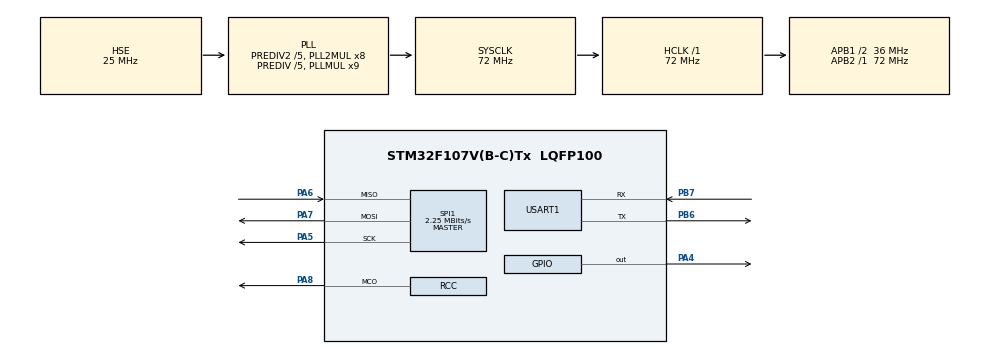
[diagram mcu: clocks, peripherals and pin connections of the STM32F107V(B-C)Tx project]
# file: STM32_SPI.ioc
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Mcu.Family=STM32F1
Mcu.Name=STM32F107V(B-C)Tx
Mcu.Package=LQFP100
NVIC.PriorityGroup=NVIC_PRIORITYGROUP_4
NVIC.SPI1_IRQn=true\:0\:0\:false\:false\:true\:true\:true\:true
NVIC.USART1_IRQn=true\:0\:0\:false\:false\:true\:true\:true\:true
OSC_IN.Mode=HSE-External-Oscillator
OSC_IN.Signal=RCC_OSC_IN
OSC_OUT.Mode=HSE-External-Oscillator
OSC_OUT.Signal=RCC_OSC_OUT
PA13.Mode=Serial_Wire
PA13.Signal=SYS_JTMS-SWDIO
PA14.Mode=Serial_Wire
PA14.Signal=SYS_JTCK-SWCLK
PA4.Signal=GPIO_Output
PA5.Mode=Full_Duplex_Master
PA5.Signal=SPI1_SCK
PA6.Mode=Full_Duplex_Master
PA6.Signal=SPI1_MISO
PA7.Mode=Full_Duplex_Master
PA7.Signal=SPI1_MOSI
PA8.GPIO_Speed=GPIO_SPEED_FREQ_MEDIUM
PA8.Mode=Clock-out
PA8.Signal=RCC_MCO
PB6.Mode=Asynchronous
PB6.Signal=USART1_TX
PB7.Mode=Asynchronous
PB7.Signal=USART1_RX
ProjectManager.HeapSize=0x200
ProjectManager.StackSize=0x400
ProjectManager.TargetToolchain=STM32CubeIDE
RCC.AHBFreq_Value=72000000
RCC.APB1CLKDivider=RCC_HCLK_DIV2
RCC.APB1Freq_Value=36000000
RCC.APB1TimFreq_Value=72000000
RCC.APB2Freq_Value=72000000
RCC.APB2TimFreq_Value=72000000
RCC.HCLKFreq_Value=72000000
RCC.HSEDivPLL=RCC_HSE_PREDIV_DIV5
RCC.HSE_VALUE=25000000
RCC.PLL3Mul=RCC_PLLI2S_MUL10
RCC.PLLMUL=RCC_PLL_MUL9
RCC.PLLSourceVirtual=RCC_PLLSOURCE_HSE
RCC.Prediv1Source=RCC_PREDIV1_SOURCE_PLL2
RCC.Prediv2=RCC_HSE_PREDIV2_DIV5
RCC.RCC_MCOSource=RCC_MCO1SOURCE_PLL3CLK
RCC.SYSCLKFreq_VALUE=72000000
RCC.SYSCLKSource=RCC_SYSCLKSOURCE_PLLCLK
RCC.USBFreq_Value=48000000
SPI1.BaudRatePrescaler=SPI_BAUDRATEPRESCALER_32
SPI1.CalculateBaudRate=2.25 MBits/s
SPI1.Direction=SPI_DIRECTION_2LINES
SPI1.Mode=SPI_MODE_MASTER
SPI1.VirtualType=VM_MASTER
USART1.VirtualMode=VM_ASYNC
board=custom

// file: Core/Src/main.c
/* USER CODE BEGIN Header */
/**
  ******************************************************************************
  * @file           : main.c
  * @brief          : Main program body
  ******************************************************************************
  * @attention
  *
  * Copyright (c) 2024 STMicroelectronics.
  * All rights reserved.
  *
  * This software is licensed under terms that can be found in the LICENSE file
  * in the root directory of this software component.
  * If no LICENSE file comes with this software, it is provided AS-IS.
  *
  ******************************************************************************
  */
/* USER CODE END Header */
#include "main.h"

/* USER CODE BEGIN Includes */
#include "W25Qxx.h"
#include "stdio.h"
#include "string.h"
/* USER CODE END Includes */

SPI_HandleTypeDef hspi1;

UART_HandleTypeDef huart1;

/* USER CODE BEGIN PV */
uint32_t ID=0;
uint8_t RxData[30];
uint8_t TxData[] = "Hello from Jaydip NextGen PoC\n";
/* USER CODE END PV */

void SystemClock_Config(void);
static void MX_GPIO_Init(void);
static void MX_SPI1_Init(void);
static void MX_USART1_UART_Init(void);

/* USER CODE BEGIN 0 */
int __io_putchar (int ch)
{
	HAL_UART_Transmit(&huart1, (const uint8_t*)&ch, 1, 10);
	return ch;
}

size_t custom_strlen(const uint8_t *str) {
    size_t length = 0;
    while (*str != '\0') {
        length++;
        str++;
    }
    return length;
}

/* USER CODE END 0 */

int main(void)
{

  /* MCU Configuration--------------------------------------------------------*/

  /* Reset of all peripherals, Initializes the Flash interface and the Systick. */
  HAL_Init();

  /* Configure the system clock */
  SystemClock_Config();

  /* Initialize all configured peripherals */
  MX_GPIO_Init();
  MX_SPI1_Init();
  MX_USART1_UART_Init();
  /* USER CODE BEGIN 2 */

  	W25Q_Reset();
    ID = W25Q_ReadID();

  	if (ID == 0xEF4015)
  	{
  		 W25Q_Read(0, 250, 20, RxData);
  		 W25Q_Erase_Sector(0);
  		 W25Q_Write_Page(0, 250, custom_strlen(TxData), TxData);
  		 W25Q_Read(0, 250, 20, RxData);
  		 W25Q_Erase_Sector(0);					// Comment this two line for check when power
  		 W25Q_Read(0, 250, 20, RxData);			// is off and on the data is still in Flash memory
  		 HAL_Delay(500);
  	}
  /* USER CODE END 2 */

  /* Infinite loop */
  while (1)
  {

  }
}

void SystemClock_Config(void)
{
  RCC_OscInitTypeDef RCC_OscInitStruct = {0};
  RCC_ClkInitTypeDef RCC_ClkInitStruct = {0};

  /** Initializes the RCC Oscillators according to the specified parameters
  * in the RCC_OscInitTypeDef structure.
  */
  RCC_OscInitStruct.OscillatorType = RCC_OSCILLATORTYPE_HSE;
  RCC_OscInitStruct.HSEState = RCC_HSE_ON;
  RCC_OscInitStruct.HSEPredivValue = RCC_HSE_PREDIV_DIV5;
  RCC_OscInitStruct.HSIState = RCC_HSI_ON;
  RCC_OscInitStruct.Prediv1Source = RCC_PREDIV1_SOURCE_PLL2;
  RCC_OscInitStruct.PLL.PLLState = RCC_PLL_ON;
  RCC_OscInitStruct.PLL.PLLSource = RCC_PLLSOURCE_HSE;
  RCC_OscInitStruct.PLL.PLLMUL = RCC_PLL_MUL9;
  RCC_OscInitStruct.PLL2.PLL2State = RCC_PLL2_ON;
  RCC_OscInitStruct.PLL2.PLL2MUL = RCC_PLL2_MUL8;
  RCC_OscInitStruct.PLL2.HSEPrediv2Value = RCC_HSE_PREDIV2_DIV5;
  if (HAL_RCC_OscConfig(&RCC_OscInitStruct) != HAL_OK)
  {
    Error_Handler();
  }

  /** Initializes the CPU, AHB and APB buses clocks
  */
  RCC_ClkInitStruct.ClockType = RCC_CLOCKTYPE_HCLK|RCC_CLOCKTYPE_SYSCLK
                              |RCC_CLOCKTYPE_PCLK1|RCC_CLOCKTYPE_PCLK2;
  RCC_ClkInitStruct.SYSCLKSource = RCC_SYSCLKSOURCE_PLLCLK;
  RCC_ClkInitStruct.AHBCLKDivider = RCC_SYSCLK_DIV1;
  RCC_ClkInitStruct.APB1CLKDivider = RCC_HCLK_DIV2;
  RCC_ClkInitStruct.APB2CLKDivider = RCC_HCLK_DIV1;

  if (HAL_RCC_ClockConfig(&RCC_ClkInitStruct, FLASH_LATENCY_2) != HAL_OK)
  {
    Error_Handler();
  }
  HAL_RCC_MCOConfig(RCC_MCO, RCC_MCO1SOURCE_PLL3CLK, RCC_MCODIV_1);

  /** Configure the Systick interrupt time
  */
  __HAL_RCC_HSE_PREDIV2_CONFIG(RCC_HSE_PREDIV2_DIV5);

  /** Configure the Systick interrupt time
  */
  __HAL_RCC_PLLI2S_CONFIG(RCC_PLLI2S_MUL10);

  /** Configure the Systick interrupt time
  */
  __HAL_RCC_PLLI2S_ENABLE();
}

static void MX_SPI1_Init(void)
{

  /* SPI1 parameter configuration*/
  hspi1.Instance = SPI1;
  hspi1.Init.Mode = SPI_MODE_MASTER;
  hspi1.Init.Direction = SPI_DIRECTION_2LINES;
  hspi1.Init.DataSize = SPI_DATASIZE_8BIT;
  hspi1.Init.CLKPolarity = SPI_POLARITY_LOW;
  hspi1.Init.CLKPhase = SPI_PHASE_1EDGE;
  hspi1.Init.NSS = SPI_NSS_SOFT;
  hspi1.Init.BaudRatePrescaler = SPI_BAUDRATEPRESCALER_32;
  hspi1.Init.FirstBit = SPI_FIRSTBIT_MSB;
  hspi1.Init.TIMode = SPI_TIMODE_DISABLE;
  hspi1.Init.CRCCalculation = SPI_CRCCALCULATION_DISABLE;
  hspi1.Init.CRCPolynomial = 10;
  if (HAL_SPI_Init(&hspi1) != HAL_OK)
  {
    Error_Handler();
  }

}

static void MX_USART1_UART_Init(void)
{

  huart1.Instance = USART1;
  huart1.Init.BaudRate = 115200;
  huart1.Init.WordLength = UART_WORDLENGTH_8B;
  huart1.Init.StopBits = UART_STOPBITS_1;
  huart1.Init.Parity = UART_PARITY_NONE;
  huart1.Init.Mode = UART_MODE_TX_RX;
  huart1.Init.HwFlowCtl = UART_HWCONTROL_NONE;
  huart1.Init.OverSampling = UART_OVERSAMPLING_16;
  if (HAL_UART_Init(&huart1) != HAL_OK)
  {
    Error_Handler();
  }

}

static void MX_GPIO_Init(void)
{
  GPIO_InitTypeDef GPIO_InitStruct = {0};

  /* GPIO Ports Clock Enable */
  __HAL_RCC_GPIOA_CLK_ENABLE();
  __HAL_RCC_GPIOB_CLK_ENABLE();

  /*Configure GPIO pin Output Level */
  HAL_GPIO_WritePin(GPIOA, GPIO_PIN_4, GPIO_PIN_RESET);

  /*Configure GPIO pin : PA4 */
  GPIO_InitStruct.Pin = GPIO_PIN_4;
  GPIO_InitStruct.Mode = GPIO_MODE_OUTPUT_PP;
  GPIO_InitStruct.Pull = GPIO_NOPULL;
  GPIO_InitStruct.Speed = GPIO_SPEED_FREQ_LOW;
  HAL_GPIO_Init(GPIOA, &GPIO_InitStruct);

  /*Configure GPIO pin : PA8 */
  GPIO_InitStruct.Pin = GPIO_PIN_8;
  GPIO_InitStruct.Mode = GPIO_MODE_AF_PP;
  GPIO_InitStruct.Speed = GPIO_SPEED_FREQ_MEDIUM;
  HAL_GPIO_Init(GPIOA, &GPIO_InitStruct);

}

void Error_Handler(void)
{
  __disable_irq();
  while (1)
  {
  }
}
